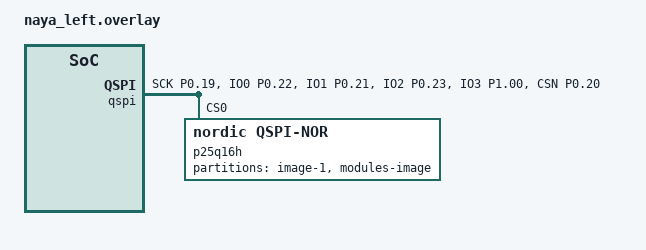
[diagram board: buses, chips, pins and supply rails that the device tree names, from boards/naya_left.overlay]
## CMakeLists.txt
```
# SPDX-License-Identifier: Apache-2.0

cmake_minimum_required(VERSION 3.20.0)
find_package(Zephyr REQUIRED HINTS $ENV{ZEPHYR_BASE})
project(dfu)

FILE(GLOB app_sources src/*.c)
target_sources(app PRIVATE ${app_sources})

set(ZEPHYR_EXTRA_MODULES "${CMAKE_CURRENT_SOURCE_DIR}")
```

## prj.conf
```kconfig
CONFIG_GPIO=y
CONFIG_USB_DEVICE_STACK=y
CONFIG_USB_DFU_CLASS=y
CONFIG_USB_DFU_ENABLE_UPLOAD=y  
CONFIG_FLASH=y
CONFIG_FLASH_MAP=y
CONFIG_STREAM_FLASH=y
CONFIG_IMG_MANAGER=y

# CONFIG_USB_DRIVER_LOG_LEVEL_ERR=y
# CONFIG_USB_DEVICE_LOG_LEVEL_ERR=y
# CONFIG_BOOTLOADER_MCUBOOT=y

CONFIG_USB_DFU_PERMANENT_DOWNLOAD=n
CONFIG_USB_DEVICE_INITIALIZE_AT_BOOT=n
CONFIG_USB_DFU_REBOOT=y
CONFIG_USB_REQUEST_BUFFER_SIZE=2048


CONFIG_PRINTK=n
CONFIG_EARLY_CONSOLE=n
CONFIG_STDOUT_CONSOLE=n
CONFIG_CONSOLE=n
CONFIG_LOG=n
CONFIG_SERIAL=n
CONFIG_I2C=n
CONFIG_PWM=n
```

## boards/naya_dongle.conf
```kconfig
CONFIG_USB_DEVICE_PRODUCT="Dongle"
CONFIG_USB_DEVICE_MANUFACTURER="Naya"
CONFIG_USB_DEVICE_SN="0123456789ABCDEF"

#Registered for naya dongle
#       322 in decimal  
CONFIG_USB_DEVICE_PID=0x0142               
CONFIG_USB_DEVICE_VID=0x37d1 

CONFIG_NRFX_QSPI=n
```

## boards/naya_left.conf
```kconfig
CONFIG_USB_DEVICE_PRODUCT="Left Keyboard"
CONFIG_USB_DEVICE_MANUFACTURER="Naya"
CONFIG_USB_DEVICE_SN="0123456789ABCDEF"

#Registered for naya left keyboard product
#       122 in decimal 
CONFIG_USB_DEVICE_PID=0x007a            
CONFIG_USB_DEVICE_VID=0x37d1
```

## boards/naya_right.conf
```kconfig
CONFIG_USB_DEVICE_PRODUCT="Right Keyboard"
CONFIG_USB_DEVICE_MANUFACTURER="Naya"
CONFIG_USB_DEVICE_SN="0123456789ABCDEF"

#Registered for naya right keyboard product
#       222 in decimal 
CONFIG_USB_DEVICE_PID=0x00de            
CONFIG_USB_DEVICE_VID=0x37d1
```

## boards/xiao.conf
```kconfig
CONFIG_USB_DEVICE_PRODUCT="Xiao"
CONFIG_USB_DEVICE_MANUFACTURER="Naya"
CONFIG_USB_DEVICE_SN="0123456789ABCDEF"

#Registered for naya products
CONFIG_USB_DEVICE_PID=0x012c            
CONFIG_USB_DEVICE_VID=0x37d1  
```

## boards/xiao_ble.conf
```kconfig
CONFIG_USB_DEVICE_PRODUCT="Xiao"
CONFIG_USB_DEVICE_MANUFACTURER="Naya"
CONFIG_USB_DEVICE_SN="0123456789ABCDEF"

#Registered for naya products
#       999 in decimal 
CONFIG_USB_DEVICE_PID=0x03e7            
CONFIG_USB_DEVICE_VID=0x37d1  
```

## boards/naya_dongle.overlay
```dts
&flash0 {
	/*
	 *  flash layout for naya 
	 *
	 * 0x00000000 SoftDevice s140 v7    (192 kB)
	 * 0x00030000 mcuboot partition     (80 kB)
 	 * 0x00044000 image-0 partition     (648 kB)
	 * 0x00044000 image-0 partition     (648 kB)
	 * 0x000e6000 scratch partition     (24 kB)
	 * 0x000ec000 Storage partition     (32 kB)
	 * 0x000f4000 DFU boot partition    (48 kB)
	 */

	partitions {
		compatible = "fixed-partitions";
		#address-cells = <1>;
		#size-cells = <1>;

		softdevice_partition: partition@0 {		
			label = "SoftDevice";
			// read-only;
			reg = <0x00000000 0x00030000>;
		};
		
		mcuboot_partition: partition@30000 {
			label = "mcuboot";
			reg = <0x00030000 0x00014000>;
		};
		
		slot0_partition: partition@44000 {
			label = "image-0";
			reg = <0x00044000 0x00051000>;
		};

		slot1_partition: partition@95000 {
			label = "image-1";
			reg = <0x00095000 0x00051000>;
		};
		
		mfw_partition: partition@e6000 {
			label = "image-scratch";
			reg = <0x000e6000 0x00006000>;
		};
		
        /*
         * Storage partition will be used by FCB/LittleFS/NVS
         * if enabled.
         */
		storage_partition: partition@ec000 {
            label = "storage";
            reg = <0x000ec000 0x00008000>;
        };

		dfu_partition: partition@f4000 {
			label = "USB-DFU";
			read-only;
			reg = <0x000f4000 0x0000c000>;
		};
	};
};



/ {
	chosen {
		zephyr,code-partition = &dfu_partition;
	};
};
```

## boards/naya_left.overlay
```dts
&qspi {
	status = "okay";
	pinctrl-0 = <&qspi_default>;
	pinctrl-1 = <&qspi_sleep>;
	pinctrl-names = "default", "sleep";
	p25q16h: p25q16h@0 {
		compatible = "nordic,qspi-nor";
		reg = <0>;
		sck-frequency = <40000000>;       /* Retained sck-frequency */
        size = <0x2000000>;                /* Corrected size to 4MB */
		quad-enable-requirements = "S2B1v1";
		jedec-id = [ef 40 16];
		writeoc = "pp4o";
        readoc = "read4io";

		partitions {
			compatible = "fixed-partitions";
			#address-cells = <1>;
			#size-cells = <1>;


			slot1_partition: partition@0 {
				label = "image-1";
				reg = <0x00000000 0x000a2000>;	 /* 648K Partition for secondary partition*/
			};

			mfw_partition: partition@a2000 {
				label = "modules-image";
				reg = <0x000a2000 0x00100000>;  /* 1MB Partition for modules firmware */
			};

		};
	};
};



&pinctrl {
	qspi_default: qspi_default {
		group1 {
		 psels = <NRF_PSEL(QSPI_SCK, 0, 19)>,
		  <NRF_PSEL(QSPI_IO0, 0, 22)>,
		  <NRF_PSEL(QSPI_IO1, 0, 21)>,
		  <NRF_PSEL(QSPI_IO2, 0, 23)>,
		  <NRF_PSEL(QSPI_IO3, 1, 00 )>,
		  <NRF_PSEL(QSPI_CSN, 0, 20)>;
		};
	   };
	  
	   qspi_sleep: qspi_sleep {
		group1 {
		 psels = <NRF_PSEL(QSPI_SCK, 0, 19)>,
		  <NRF_PSEL(QSPI_IO0, 0, 22)>,
		  <NRF_PSEL(QSPI_IO1, 0, 21)>,
		  <NRF_PSEL(QSPI_IO2, 0, 23)>,
		  <NRF_PSEL(QSPI_IO3, 1, 00)>;
		 low-power-enable;
		};
		group2 {
		 psels = <NRF_PSEL(QSPI_CSN, 0, 20)>;
		 low-power-enable;
		 bias-pull-up;
		};
	   };	  
};



&flash0 {
	/*
	 *  flash layout for naya 
	 *
	 * 0x00000000 SoftDevice s140 v7    (192 kB)
	 * 0x00030000 mcuboot partition     (80 kB)
 	 * 0x00044000 image-0 partition     (648 kB)
	 * 0x000e6000 scratch partition     (24 kB)
	 * 0x000ec000 Storage partition     (32 kB)
	 * 0x000f4000 DFU boot partition    (48 kB)
	 */

	partitions {
		compatible = "fixed-partitions";
		#address-cells = <1>;
		#size-cells = <1>;

		softdevice_partition: partition@0 {		
			label = "SoftDevice";
			// read-only;
			reg = <0x00000000 0x00030000>;
		};
		
		mcuboot_partition: partition@30000 {
			label = "mcuboot";
			reg = <0x00030000 0x00014000>;
		};
		
		slot0_partition: partition@44000 {
			label = "image-0";
			reg = <0x00044000 0x000A2000>;
		};
		
		scratch_partition: partition@e6000 {
			label = "image-scratch";
			reg = <0x000e6000 0x00006000>;
		};
		
        /*
         * Storage partition will be used by FCB/LittleFS/NVS
         * if enabled.
         */
		storage_partition: partition@ec000 {
            label = "storage";
            reg = <0x000ec000 0x00008000>;
        };

		dfu_partition: partition@f4000 {
			label = "USB-DFU";
			read-only;
			reg = <0x000f4000 0x0000c000>;
		};
	};
};




/ {
	chosen {
		zephyr,code-partition = &dfu_partition;
	};
};
```

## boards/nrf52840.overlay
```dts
/*
 * Copyright (c) 2020 Nordic Semiconductor ASA
 *
 * SPDX-License-Identifier: Apache-2.0
 */




&flash0 {
	/*
	 * Default flash layout for nrf52840 using UF2 and SoftDevice s140 v7
	 *
	 * 0x00000000 SoftDevice s140 v7    (156 kB)
	 * 0x00027000 mcuboot partition     (64 kB)
 	 * 0x00037000 image-0 partition     (362 kB)
 	 * 0x00091800 image-1 partition     (362 kB)
	 * 0x000ec000 Storage partition     (32 kB)
	 * 0x000f4000 UF2 boot partition    (48 kB)
	 */

	partitions {
		compatible = "fixed-partitions";
		#address-cells = <1>;
		#size-cells = <1>;

		reserved_partition_0: partition@0 {
			label = "SoftDevice";
			read-only;
			reg = <0x00000000 0x00027000>;
		};
		
		boot_partition_2: partition@27000 {
			label = "mcuboot";
			reg = <0x00027000 0x00010000>;
		};
		
		slot0_partition: partition@37000 {
			label = "image-0";
			reg = <0x000037000 0x00005A800>;
		};
		
		slot1_partition: partition@75000 {
			label = "image-1";
			reg = <0x00091800 0x00005A800>;
		};
		
		storage_partition: partition@ec000 {
			label = "Storage";
			reg = <0x000ec000 0x00008000>;
		};

		//boot_partition: partition@f4000 {
		//	label = "UF2";
		//	read-only;
		//	reg = <0x000f4000 0x0000c000>;
		//};
	};
};
```

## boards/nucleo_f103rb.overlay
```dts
&clk_hse {
     /delete-property/ hse-bypass;
};

&green_led_2 {
     gpios = <&gpioc 13 GPIO_ACTIVE_LOW>;
 };

// &flash0 {
//      partitions {
//           compatible = "fixed-partitions";
//           #address-cells = <1>;
//           #size-cells = <1>;

//           boot_partition: partition@0 {
//                label = "mcuboot";
//                reg = <0x000000000 0x00010000>;
//           };
//           slot0_partition: partition@10000 {
//                label = "image-0";
//                reg = <0x000010000 0x000074000>;
//           };
//           slot1_partition: partition@75000 {
//                label = "image-1";
//                reg = <0x00084000 0x000074000>;
//           };
//           // /* Set 2KB of storage at the end of 128KB flash */
// 		// storage_partition: partition@1f800 {
// 		// 	label = "storage";
// 		// 	reg = <0x0001f800 DT_SIZE_K(2)>;
// 		// };
//      };
// };
```

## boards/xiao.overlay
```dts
&qspi {
	status = "okay";
	pinctrl-0 = <&qspi_default>;
	pinctrl-1 = <&qspi_sleep>;
	pinctrl-names = "default", "sleep";
	p25q16h: p25q16h@0 {
		compatible = "nordic,qspi-nor";
		reg = <0>;
		sck-frequency = <104000000>;
		quad-enable-requirements = "S2B1v1";
		jedec-id = [85 60 15];
		sfdp-bfp = [
			e5 20 f1 ff  ff ff ff 00  44 eb 08 6b  08 3b 80 bb
			ee ff ff ff  ff ff 00 ff  ff ff 00 ff  0c 20 0f 52
			10 d8 08 81
		];
		size = <16777216>;
		has-dpd;
		t-enter-dpd = <3000>;
		t-exit-dpd = <8000>;

		partitions {
			compatible = "fixed-partitions";
			#address-cells = <1>;
			#size-cells = <1>;


			slot1_partition: partition@0 {
				label = "image-1";
				reg = <0x00000000 0x000a2000>;	 /* 648K Partition for secondary partition*/
			};

			mfw_partition: partition@a2000 {
				label = "modules-image";
				reg = <0x000a2000 0x00100000>;  /* 1MB Partition for modules firmware */
			};

		};
	};
};





&flash0 {
	/*
	 *  flash layout for naya 
	 *
	 * 0x00000000 SoftDevice s140 v7    (192 kB)
	 * 0x00026000 mcuboot partition     (80 kB)
 	 * 0x00038000 image-0 partition     (648 kB)
	 * 0x000e6000 scratch partition     (24 kB)
	 * 0x000ec000 Storage partition     (32 kB)
	 * 0x000f4000 DFU boot partition    (48 kB)
	 */

	partitions {
		compatible = "fixed-partitions";
		#address-cells = <1>;
		#size-cells = <1>;

		softdevice_partition: partition@0 {		
			label = "SoftDevice";
			// read-only;
			reg = <0x00000000 0x00030000>;
		};
		
		mcuboot_partition: partition@30000 {
			label = "mcuboot";
			reg = <0x00030000 0x00014000>;
		};
		
		slot0_partition: partition@44000 {
			label = "image-0";
			reg = <0x00044000 0x000A2000>;
		};
		
		// scratch_partition: partition@e6000 {
		// 	label = "image-scratch";
		// 	reg = <0x000e6000 0x00006000>;
		// };
		
        /*
         * Storage partition will be used by FCB/LittleFS/NVS
         * if enabled.
         */
		storage_partition: partition@ec000 {
            label = "storage";
            reg = <0x000ec000 0x00008000>;
        };

		dfu_partition: partition@f4000 {
			label = "USB-DFU";
			read-only;
			reg = <0x000f4000 0x0000c000>;
		};
	};
};




/ {
	chosen {
		zephyr,code-partition = &boot_partition;
	};
};
```

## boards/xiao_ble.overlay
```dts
&qspi {
	status = "okay";
	pinctrl-0 = <&qspi_default>;
	pinctrl-1 = <&qspi_sleep>;
	pinctrl-names = "default", "sleep";
	p25q16h: p25q16h@0 {
		compatible = "nordic,qspi-nor";
		reg = <0>;
		sck-frequency = <104000000>;
		quad-enable-requirements = "S2B1v1";
		jedec-id = [85 60 15];
		sfdp-bfp = [
			e5 20 f1 ff  ff ff ff 00  44 eb 08 6b  08 3b 80 bb
			ee ff ff ff  ff ff 00 ff  ff ff 00 ff  0c 20 0f 52
			10 d8 08 81
		];
		size = <16777216>;
		has-dpd;
		t-enter-dpd = <3000>;
		t-exit-dpd = <8000>;

		partitions {
			compatible = "fixed-partitions";
			#address-cells = <1>;
			#size-cells = <1>;


			slot1_partition: partition@0 {
				label = "image-1";
				reg = <0x00000000 0x000a2000>;	 /* 648K Partition for secondary partition*/
			};

			mfw_partition: partition@a2000 {
				label = "modules-image";
				reg = <0x000a2000 0x00100000>;  /* 1MB Partition for modules firmware */
			};

		};
	};
};





&flash0 {
	/*
	 *  flash layout for naya 
	 *
	 * 0x00000000 SoftDevice s140 v7    (192 kB)
	 * 0x00030000 mcuboot partition     (80 kB)
 	 * 0x00044000 image-0 partition     (648 kB)
	 * 0x000e6000 scratch partition     (24 kB)
	 * 0x000ec000 Storage partition     (32 kB)
	 * 0x000f4000 DFU boot partition    (48 kB)
	 */

	partitions {
		compatible = "fixed-partitions";
		#address-cells = <1>;
		#size-cells = <1>;

		softdevice_partition: partition@0 {		
			label = "SoftDevice";
			// read-only;
			reg = <0x00000000 0x00030000>;
		};
		
		mcuboot_partition: partition@30000 {
			label = "mcuboot";
			reg = <0x00030000 0x00014000>;
		};
		
		slot0_partition: partition@44000 {
			label = "image-0";
			reg = <0x00044000 0x000A2000>;
		};
		
		scratch_partition: partition@e6000 {
			label = "image-scratch";
			reg = <0x000e6000 0x00006000>;
		};
		
        /*
         * Storage partition will be used by FCB/LittleFS/NVS
         * if enabled.
         */
		storage_partition: partition@ec000 {
            label = "storage";
            reg = <0x000ec000 0x00008000>;
        };

		dfu_partition: partition@f4000 {
			label = "USB-DFU";
			read-only;
			reg = <0x000f4000 0x0000c000>;
		};
	};
};




/ {
	chosen {
		zephyr,code-partition = &dfu_partition;
	};
};
```

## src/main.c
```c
/*
 * Copyright (c) 2016 Intel Corporation
 * Copyright (c) 2017 Phytec Messtechnik GmbH
 *
 * SPDX-License-Identifier: Apache-2.0
 */

/* Sample app for USB DFU class driver. */

#include <zephyr/kernel.h>
#include <zephyr/logging/log.h>
#include <zephyr/usb/usb_device.h>
#include <assert.h>
#include <zephyr/devicetree.h>
#include <zephyr/drivers/gpio.h>
#include <zephyr/sys/__assert.h>
#include <zephyr/drivers/flash.h>
#include <zephyr/drivers/timer/system_timer.h>
#include <soc.h>
#include <zephyr/linker/linker-defs.h>

#include <zephyr/storage/flash_map.h>


LOG_MODULE_REGISTER(main);

#define MCUBOOT_PARTITION		mcuboot_partition
#define NEW_APP_ADDRESS 0x27000  

#define CONFIG_MCUBOOT_CLEANUP_ARM_CORE     1
#define CONFIG_CPU_HAS_ARM_MPU              1
#define CONFIG_MCUBOOT_CLEANUP_ARM_CORE     1



#define BOOTLOADER_DFU_START 			0xB1
#define DFU_MAGIC_OTA_APPJUM            BOOTLOADER_DFU_START  // 0xB1
#define DFU_MAGIC_OTA_RESET             0xA8
#define DFU_MAGIC_SERIAL_ONLY_RESET     0x4e
#define DFU_MAGIC_UF2_RESET             0x57
#define DFU_MAGIC_MCUMGR_RESET          0x48
#define DFU_MAGIC_SKIP                  0x6d

#define DFU_DBL_RESET_MAGIC_1            0x5A1AD5      // SALADS
#define DFU_DBL_RESET_MAGIC_2            0x5A5A1A      // SASALA
#define DFU_DBL_RESET_APP               0x4ee5677e
#define DFU_DBL_RESET_DELAY             300
#define DFU_DBL_RESET_MEM               0x20007F7C


uint32_t* dbl_reset_mem = ((uint32_t*) DFU_DBL_RESET_MEM);

struct arm_vector_table {
    uint32_t msp;
    uint32_t reset;
};

uint8_t do_boot(void);
uint8_t led_blink_status=0;
struct k_thread my_thread_data;
K_THREAD_STACK_DEFINE(my_stack_area, 1024);

#if defined(CONFIG_BOARD_NAYA_DONGLE)  || defined(CONFIG_BOARD_XIAO_BLE)
static const struct gpio_dt_spec led_red = GPIO_DT_SPEC_GET(DT_ALIAS(led0), gpios);
static const struct gpio_dt_spec led_green = GPIO_DT_SPEC_GET(DT_ALIAS(led1), gpios);
static const struct gpio_dt_spec led_blue = GPIO_DT_SPEC_GET(DT_ALIAS(led2), gpios);
void led_blink(void *, void *, void *)
{
    uint16_t delay=1000;
    uint32_t start=k_uptime_get_32();
    uint32_t st=0;
    gpio_pin_configure_dt(&led_red, GPIO_OUTPUT_ACTIVE);
    gpio_pin_configure_dt(&led_blue,GPIO_OUTPUT_INACTIVE);   
    
    bool value=0;
    while (1) {
        gpio_pin_toggle_dt(&led_blue);
        gpio_pin_toggle_dt(&led_red);
        // gpio_pin_set(led_blue.port,led_blue.pin,value);
        // gpio_pin_set(led_red.port,led_red.pin,!value);
        value=!value;
        if(led_blink_status == 0) delay = 700;
        else delay =100;
        
        k_msleep(delay);

        if(k_uptime_get_32() - start > 10000) do_boot();
    }
}
#else
void led_blink(void *, void *, void *)
{

    uint32_t start=k_uptime_get_32();

    bool value=0;
    while (1) {
        k_msleep(1000);
        if(k_uptime_get_32() - start > 10000) do_boot();
    }
}

#endif

void cleanup_arm_nvic(void) {
	/* Allow any pending interrupts to be recognized */
	__ISB();
	__disable_irq();

	/* Disable NVIC interrupts */
	for (uint8_t i = 0; i < ARRAY_SIZE(NVIC->ICER); i++) {
		NVIC->ICER[i] = 0xFFFFFFFF;
	}
	/* Clear pending NVIC interrupts */
	for (uint8_t i = 0; i < ARRAY_SIZE(NVIC->ICPR); i++) {
		NVIC->ICPR[i] = 0xFFFFFFFF;
	}
}




uint8_t do_boot(void)
{
    struct arm_vector_table *vt;
    /* The beginning of the image is the ARM vector table, containing
     * the initial stack pointer address and the reset vector
     * consecutively. Manually set the stack pointer and jump into the
     * reset vector
     */
    int rc;
    const struct flash_area *fap;
    static uint32_t dst[2];
    
    rc = flash_area_open(FIXED_PARTITION_ID(MCUBOOT_PARTITION), &fap);
    assert(rc == 0);

    rc = flash_area_read(fap, 0 , dst, sizeof(dst));

    assert(rc == 0);
#ifndef CONFIG_ASSERT
    /* Enter a lock up as asserts are disabled */
    if (rc != 0) {
        while (1);
    }
#endif

    flash_area_close(fap);


    if( dst[0] == 0xFFFFFFFF) return 0;

    vt = (struct arm_vector_table *)dst;

#if defined(CONFIG_BOARD_NAYA_DONGLE)  || defined(CONFIG_BOARD_XIAO_BLE)
    gpio_pin_configure_dt(&led_blue, GPIO_DISCONNECTED);
    gpio_pin_configure_dt(&led_red, GPIO_DISCONNECTED);
#endif

    if (IS_ENABLED(CONFIG_SYSTEM_TIMER_HAS_DISABLE_SUPPORT)) {
        sys_clock_disable();
    }

#ifdef CONFIG_USB_DEVICE_STACK
    /* Disable the USB to prevent it from firing interrupts */
    usb_disable();
#endif

#if CONFIG_MCUBOOT_CLEANUP_ARM_CORE
    // cleanup_arm_nvic(); /* cleanup NVIC registers */
    __ISB();
	__disable_irq();

	/* Disable NVIC interrupts */
	for (uint8_t i = 0; i < ARRAY_SIZE(NVIC->ICER); i++) {
		NVIC->ICER[i] = 0xFFFFFFFF;
	}
	/* Clear pending NVIC interrupts */
	for (uint8_t i = 0; i < ARRAY_SIZE(NVIC->ICPR); i++) {
		NVIC->ICPR[i] = 0xFFFFFFFF;
	}

    #if defined(CONFIG_BOOT_DISABLE_CACHES)
        /* Flush and disable instruction/data caches before chain-loading the application */
        (void)sys_cache_instr_flush_all();
        (void)sys_cache_data_flush_all();
        sys_cache_instr_disable();
        sys_cache_data_disable();
    #endif

    #if CONFIG_CPU_HAS_ARM_MPU || CONFIG_CPU_HAS_NXP_MPU
        z_arm_clear_arm_mpu_config();
    #endif

    #if defined(CONFIG_BUILTIN_STACK_GUARD) && \
        defined(CONFIG_CPU_CORTEX_M_HAS_SPLIM)
        /* Reset limit registers to avoid inflicting stack overflow on image
        * being booted.
        */
        __set_PSPLIM(0);
        __set_MSPLIM(0);
    #endif
#else
    irq_lock();
#endif /* CONFIG_MCUBOOT_CLEANUP_ARM_CORE */



#ifdef CONFIG_BOOT_INTR_VEC_RELOC
    #if defined(CONFIG_SW_VECTOR_RELAY)
        _vector_table_pointer = vt;
        #ifdef CONFIG_CPU_CORTEX_M_HAS_VTOR
            SCB->VTOR = (uint32_t)__vector_relay_table;
        #endif
    #elif defined(CONFIG_CPU_CORTEX_M_HAS_VTOR)
        SCB->VTOR = (uint32_t)vt;
    #endif /* CONFIG_SW_VECTOR_RELAY */
#else /* CONFIG_BOOT_INTR_VEC_RELOC */

    #if defined(CONFIG_CPU_CORTEX_M_HAS_VTOR) && defined(CONFIG_SW_VECTOR_RELAY)
        _vector_table_pointer = _vector_start;
        SCB->VTOR = (uint32_t)__vector_relay_table;
    #endif
#endif /* CONFIG_BOOT_INTR_VEC_RELOC */

    __set_MSP(vt->msp);
#if CONFIG_MCUBOOT_CLEANUP_ARM_CORE
    __set_CONTROL(0x00); /* application will configures core on its own */
    __ISB();
#endif
    ((void (*)(void))vt->reset)();

    return 0;
}


int main(void)
{

    bool const reason_reset_pin = (NRF_POWER->RESETREAS & POWER_RESETREAS_RESETPIN_Msk) ? true : false;

    if( NRF_POWER->GPREGRET== DFU_MAGIC_UF2_RESET)
    {	
        NRF_POWER->GPREGRET=0;	                
    }
    else
    {
        if (reason_reset_pin) 
        {
            if(* dbl_reset_mem == DFU_DBL_RESET_MAGIC_2)
            {	
                (*dbl_reset_mem) = 0;
                //Magic value for MCUBoot to detect entering recovery mode
                NRF_POWER->GPREGRET=DFU_MAGIC_MCUMGR_RESET;
                //Boot to MCUboot
                do_boot();               	       
            }
            else if(* dbl_reset_mem == DFU_DBL_RESET_MAGIC_1)
            {
                // Register our second reset for tripple reset detection
                (*dbl_reset_mem) = DFU_DBL_RESET_MAGIC_2;
                
                // if RST is pressed during this delay (tripple reset)--> if will enter MCUMGR
                k_msleep(DFU_DBL_RESET_DELAY);
                
                (*dbl_reset_mem) = 0;
            }
            else
            {
                // Register our first reset for double reset detection
                (*dbl_reset_mem) = DFU_DBL_RESET_MAGIC_1;
                
                // if RST is pressed during this delay (double reset)--> if will enter dfu
                k_msleep(DFU_DBL_RESET_DELAY);
                
                (*dbl_reset_mem) = 0;
                // printf("Booting to app");
                do_boot();
            }
        }
        else
        {            
            do_boot();
        }
    }

    usb_enable(NULL);


    k_tid_t my_tid =k_thread_create(&my_thread_data, my_stack_area,
                                 K_THREAD_STACK_SIZEOF(my_stack_area),
                                 led_blink,
                                 NULL, NULL, NULL,
                                 91, 0, K_NO_WAIT);


	return 0;
}
```
